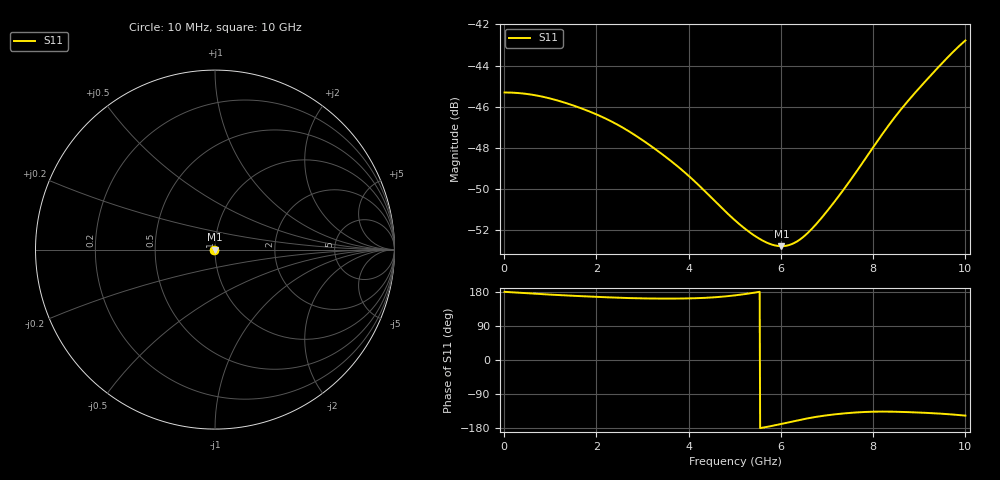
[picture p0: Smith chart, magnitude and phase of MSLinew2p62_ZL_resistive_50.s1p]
! TOUCHSTONE file generated by CST MICROWAVE STUDIO
! Date and time: Tue Feb 18 19:55:59 2025
! Project name: MSLineZL_resistive.cst
! Parameters = {ZL=50; C=0; L=100; Lamb=0.05; Li=0; R=1e-13; W=20; Zp2=50; dlump=2; er=2; h=0.8; w1=2.62}
! Header version: 2024
! Port assignment regex: !\s*Touchstone port\s*([0-9]+)\s*=\s*(CST MWS port|CST DES external port|CST DES block port)\s*(.+)\s* \(\"(.*)\"\)(\s*mode\s*([0-9]+))?.*
! Touchstone port assignment:
! Touchstone port 1 = CST MWS port 1 ("")
# GHz S MA R 50
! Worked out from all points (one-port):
!   1000 points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, 10 MHz to 10 GHz, reference 50 ohm
!   lowest |S11| = -52.8 dB at 6.01 GHz (marker M1), VSWR 1.00, Z = 49.8 - j0.0447 ohm
!   |S11| at or under -10 dB: start of sweep to end of sweep
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0.01  0.005424 179.9
0.32  0.005406 177.5
0.62  0.005354 175.3
0.93  0.005267 173.0
1.26  0.005145 170.8
1.94  0.00483 167.0
2.51  0.004495 164.2
3.11  0.004072 162.4
3.76  0.003586 162.1
4.15  0.003281 163.0
5.01  0.002646 170.6
5.31  0.002484 175.5
5.58  0.002373 -179.2
5.81  0.002312 -173.8
6.01  0.002292 -168.7
6.14  0.002301 -165.2
6.26  0.002325 -162.0
6.48  0.002411 -156.3
6.74  0.002575 -150.5
7.09  0.002871 -144.5
7.51  0.003321 -139.5
8.29  0.004438 -136.2
8.52  0.004802 -136.7
8.76  0.00518 -137.5
9.11  0.005739 -139.3
9.56  0.006505 -142.4
9.85  0.007011 -145.1
10  0.007261 -146.8
